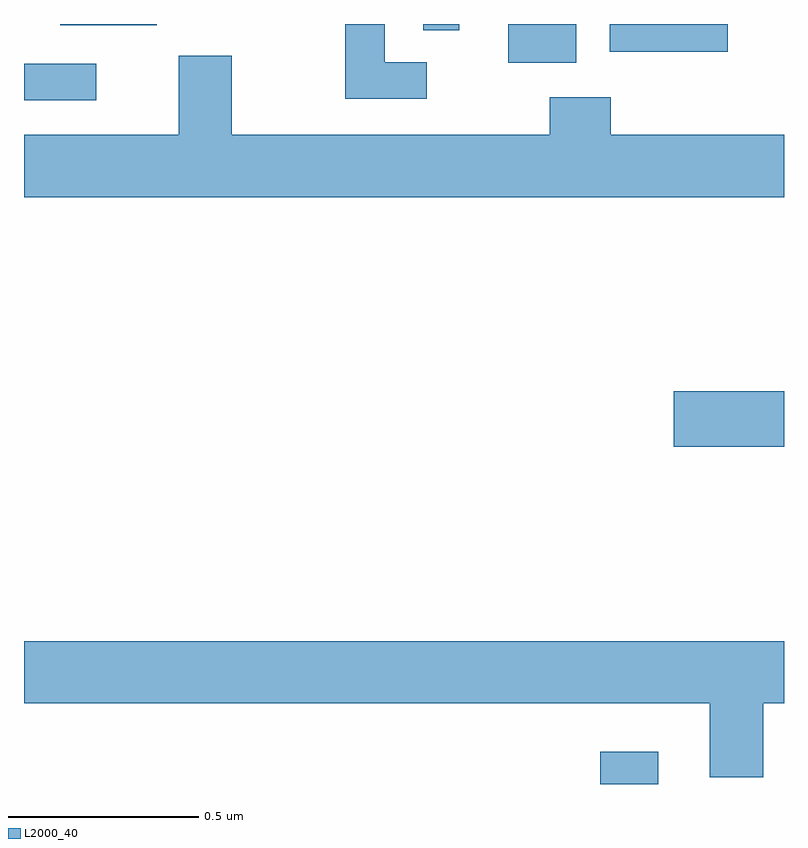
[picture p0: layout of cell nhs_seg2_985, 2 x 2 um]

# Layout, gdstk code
import gdstk
lib = gdstk.Library(unit=1e-6, precision=1e-09)
def R(c, l, rs):  # rectangles x0, y0, x1, y1
    for r in rs: c.add(gdstk.rectangle(r[:2], r[2:], *l))
def P(c, l, *ps):  # polygons
    for p in ps: c.add(gdstk.Polygon(p, *l))
L2000_40 = (2000, 40)

nhs_seg2_985 = lib.new_cell('nhs_seg2_985')
R(nhs_seg2_985, L2000_40, [(124.517,604.8,124.669,604.885), (124.71,605.687,125,605.834), (123,606.6,123.19,606.696), (124.274,606.698,124.453,606.8), (124.542,606.727,124.852,606.8), (124.05,606.784,124.146,606.8), (123.095,606.797,123.349,606.8)])
P(nhs_seg2_985, L2000_40, [(124.06,606.699),(123.949,606.699),(123.949,606.8),(123.845,606.8),(123.845,606.603),(124.06,606.603)],
  [(125,606.508),(124.544,606.508),(124.544,606.607),(124.384,606.607),(124.384,606.508),(123.547,606.508),(123.547,606.716),(123.407,606.716),(123.407,606.508),(123,606.508),(123,606.344),(125,606.344)],
  [(124.945,605.012),(125,605.012),(125,605.176),(123,605.176),(123,605.012),(124.805,605.012),(124.805,604.818),(124.945,604.818)])

lib.write_gds('nhs_seg2_985.gds')
